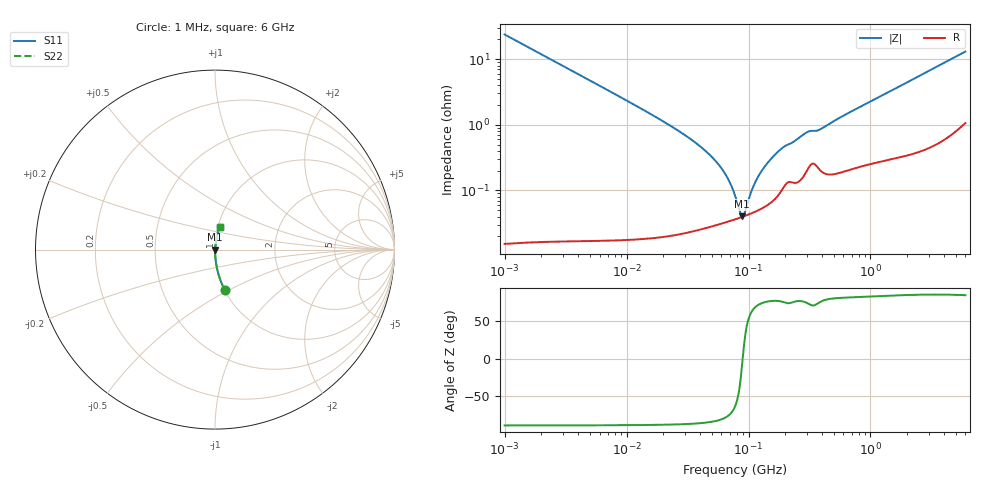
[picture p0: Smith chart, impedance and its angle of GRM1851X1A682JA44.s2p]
!Murata Part Number: GRM1851X1A682JA44
!These Parameters are Measured in Series Mode Connection
!Data Generated on Mar 30, 2021
!  o--ll--o
!Port1  Port2
!  o------o
!Operation Temp=25[degC], DC Bias Voltage=0[V]
!Freq. Start=1000[kHz] Stop=6[GHz] 401[Steps]
# Hz S RI R 50
!Freq.(Hz) S11(Real) S11(Imag) S21(Real) S21(Imag) S12(Real) S12(Imag) S22(Real) S22(Imag)
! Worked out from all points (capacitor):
!   401 points, 1 MHz to 6 GHz, reference 50 ohm
!   read as one part in series: C = 6.69 nF near 1.044 MHz
!   lowest |Z| = 40.1 mohm at 88.26 MHz (marker M1)
!   series resonance near 89.56 MHz, so ESL is about 470 pH
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1000000  0.0536 -0.2249  0.9464 0.2249  0.9464 0.2249  0.0536 -0.2249
2005636  0.014 -0.1168  0.986 0.1168  0.986 0.1168  0.014 -0.1168
4293785  0.00321 -0.055  0.9968 0.055  0.9968 0.055  0.00321 -0.055
1.843659e7  0.000343 -0.0123  0.9997 0.0123  0.9997 0.0123  0.000343 -0.0123
3.316698e7  0.000269 -0.00613  0.9997 0.00613  0.9997 0.00613  0.000269 -0.00613
4.905945e7  0.000291 -0.00335  0.9997 0.00335  0.9997 0.00335  0.000291 -0.00335
6.508975e7  0.000329 -0.00169  0.9997 0.00169  0.9997 0.00169  0.000329 -0.00169
7.100585e7  0.000345 -0.00122  0.9997 0.00122  0.9997 0.00122  0.000345 -0.00122
7.745967e7  0.000362 -0.000759  0.9996 0.000759  0.9996 0.000759  0.000362 -0.000759
8.450008e7  0.000382 -0.000303  0.9996 0.000303  0.9996 0.000303  0.000382 -0.000303
8.825674e7  0.000393 -7.61e-05  0.9996 7.61e-05  0.9996 7.61e-05  0.000393 -7.61e-05
9.019724e7  0.000399 3.72e-05  0.9996 -3.72e-05  0.9996 -3.72e-05  0.000399 3.72e-05
9.420718e7  0.000411 0.000264  0.9996 -0.000264  0.9996 -0.000264  0.000411 0.000264
1.050294e8  0.000446 0.000834  0.9996 -0.000834  0.9996 -0.000834  0.000446 0.000834
1.145757e8  0.000479 0.0013  0.9995 -0.0013  0.9995 -0.0013  0.000479 0.0013
1.455431e8  0.000617 0.00265  0.9994 -0.00265  0.9994 -0.00265  0.000617 0.00265
1.930997e8  0.00112 0.00443  0.9989 -0.00443  0.9989 -0.00443  0.00112 0.00443
2.983246e8  0.00199 0.00734  0.998 -0.00734  0.998 -0.00734  0.00199 0.00734
3.325952e8  0.00261 0.00763  0.9974 -0.00763  0.9974 -0.00763  0.00261 0.00763
3.872876e8  0.00209 0.00824  0.9979 -0.00824  0.9979 -0.00824  0.00209 0.00824
1.428092e9  0.00392 0.0316  0.9961 -0.0316  0.9961 -0.0316  0.00392 0.0316
6e9  0.0266 0.1251  0.9734 -0.1251  0.9734 -0.1251  0.0266 0.1251
